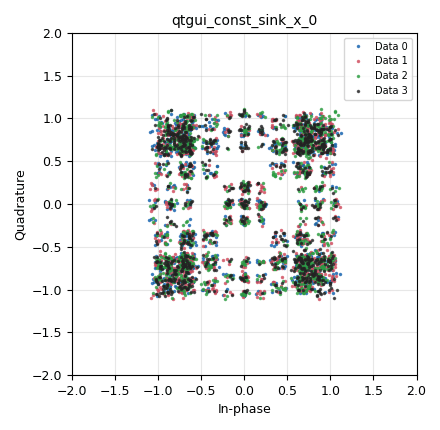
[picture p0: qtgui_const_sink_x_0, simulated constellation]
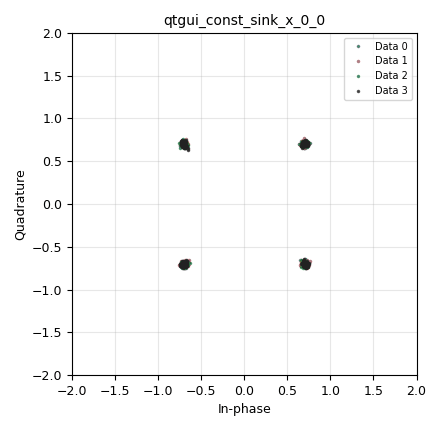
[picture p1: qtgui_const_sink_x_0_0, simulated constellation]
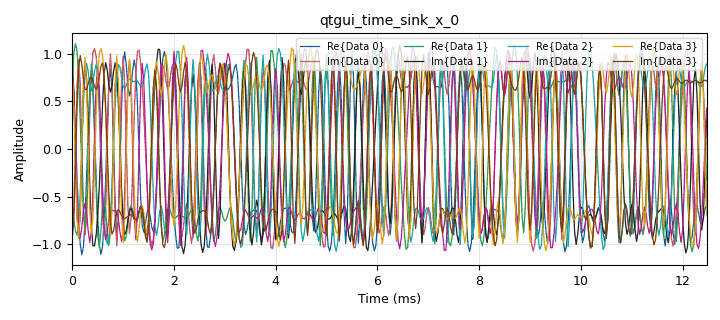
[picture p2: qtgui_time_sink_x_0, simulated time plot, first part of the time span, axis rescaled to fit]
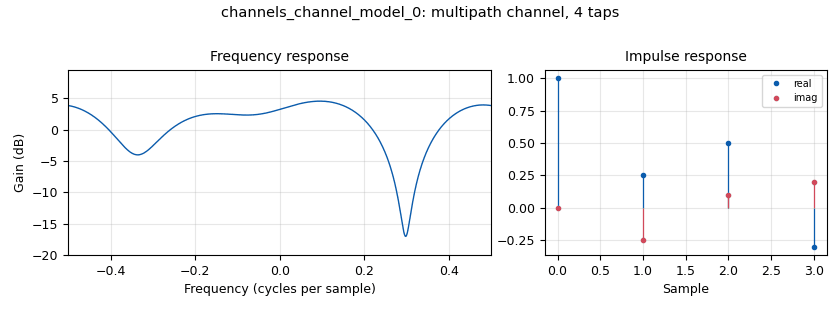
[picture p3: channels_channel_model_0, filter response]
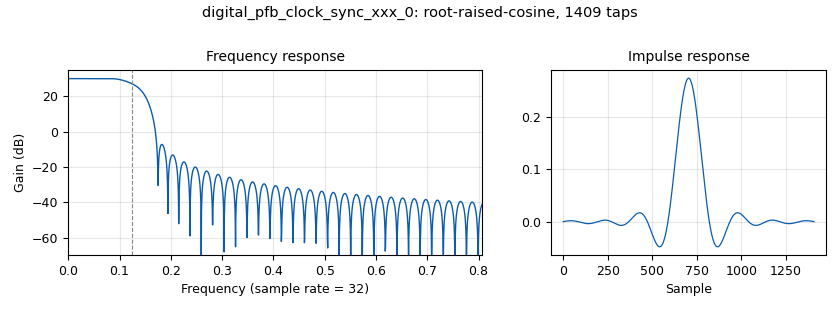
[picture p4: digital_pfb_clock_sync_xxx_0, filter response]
<?xml version='1.0' encoding='utf-8'?>
<?grc format='1' created='3.7.10'?>
<flow_graph>
<block>
<key>options</key>
<param><key>id</key><value>multi_carrier_psk</value></param>
<param><key>generate_options</key><value>qt_gui</value></param>
</block>
<block>
<key>variable_constellation</key>
<param><key>id</key><value>Const_PLD</value></param>
<param><key>const_points</key><value>digital.psk_4()[0]</value></param>
<param><key>type</key><value>calcdist</value></param>
<param><key>dims</key><value>1</value></param>
<param><key>rot_sym</key><value>4</value></param>
<param><key>precision</key><value>8</value></param>
<param><key>sym_map</key><value>digital.psk_4()[1]</value></param>
</block>
<block>
<key>variable</key>
<param><key>id</key><value>arity</value></param>
<param><key>value</key><value>Const_PLD.arity()</value></param>
</block>
<block>
<key>variable_qtgui_range</key>
<param><key>id</key><value>eq_gain</value></param>
<param><key>value</key><value>0.01</value></param>
<param><key>gui_hint</key><value>controls@1: 0,1,1,1</value></param>
<param><key>label</key><value>Equalizer: rate</value></param>
<param><key>orient</key><value>Qt.Horizontal</value></param>
<param><key>start</key><value>0.0</value></param>
<param><key>step</key><value>0.001</value></param>
<param><key>stop</key><value>0.1</value></param>
<param><key>widget</key><value>slider</value></param>
</block>
<block>
<key>variable_qtgui_range</key>
<param><key>id</key><value>freq_offset</value></param>
<param><key>value</key><value>0</value></param>
<param><key>gui_hint</key><value>controls@0: 0,1,1,1</value></param>
<param><key>label</key><value>Frequency Offset</value></param>
<param><key>orient</key><value>Qt.Horizontal</value></param>
<param><key>start</key><value>-0.1</value></param>
<param><key>step</key><value>0.001</value></param>
<param><key>stop</key><value>0.1</value></param>
</block>
<block>
<key>variable</key>
<param><key>id</key><value>nfilts</value></param>
<param><key>value</key><value>32</value></param>
</block>
<block>
<key>variable_qtgui_range</key>
<param><key>id</key><value>noise_volt</value></param>
<param><key>value</key><value>0.0001</value></param>
<param><key>gui_hint</key><value>controls@0: 0,0,1,1</value></param>
<param><key>label</key><value>Noise Voltage</value></param>
<param><key>orient</key><value>Qt.Vertical</value></param>
<param><key>start</key><value>0</value></param>
<param><key>step</key><value>0.01</value></param>
<param><key>stop</key><value>1</value></param>
</block>
<block>
<key>variable</key>
<param><key>id</key><value>pcs_taps</value></param>
<param><key>value</key><value>rrc_taps</value></param>
</block>
<block>
<key>variable_qtgui_range</key>
<param><key>id</key><value>phase_bw</value></param>
<param><key>value</key><value>6.28/100.0</value></param>
<param><key>gui_hint</key><value>controls@1: 0,2,1,1</value></param>
<param><key>label</key><value>Phase: Bandwidth</value></param>
<param><key>orient</key><value>Qt.Horizontal</value></param>
<param><key>start</key><value>0.0</value></param>
<param><key>step</key><value>0.01</value></param>
<param><key>stop</key><value>1.0</value></param>
<param><key>widget</key><value>slider</value></param>
</block>
<block>
<key>variable_rrc_filter_taps</key>
<param><key>id</key><value>rrc</value></param>
<param><key>alpha</key><value>0.35</value></param>
<param><key>gain</key><value>nfilts</value></param>
<param><key>ntaps</key><value>11*sps*nfilts</value></param>
<param><key>samp_rate</key><value>nfilts</value></param>
<param><key>sym_rate</key><value>1.0/float(sps)</value></param>
</block>
<block>
<key>variable</key>
<param><key>id</key><value>rrc_taps</value></param>
<param><key>value</key><value>firdes.root_raised_cosine(nfilts, nfilts, 1.0/float(sps), 0.35, 11*sps*nfilts)</value></param>
</block>
<block>
<key>variable</key>
<param><key>id</key><value>samp_rate</value></param>
<param><key>value</key><value>32000</value></param>
</block>
<block>
<key>variable</key>
<param><key>id</key><value>sps</value></param>
<param><key>value</key><value>4</value></param>
</block>
<block>
<key>variable</key>
<param><key>id</key><value>taps</value></param>
<param><key>value</key><value>[1.0, 0.25-0.25j, 0.50 + 0.10j, -0.3 + 0.2j]</value></param>
</block>
<block>
<key>variable_qtgui_range</key>
<param><key>id</key><value>time_offset</value></param>
<param><key>value</key><value>1.00</value></param>
<param><key>gui_hint</key><value>controls@0: 0,2,1,1</value></param>
<param><key>label</key><value>Timing Offset</value></param>
<param><key>orient</key><value>Qt.Horizontal</value></param>
<param><key>start</key><value>0.999</value></param>
<param><key>step</key><value>0.0001</value></param>
<param><key>stop</key><value>1.001</value></param>
</block>
<block>
<key>variable_qtgui_range</key>
<param><key>id</key><value>timing_loop_bw</value></param>
<param><key>value</key><value>6.28/100.0</value></param>
<param><key>gui_hint</key><value>controls@1: 0,0,1,1</value></param>
<param><key>label</key><value>Time: BW</value></param>
<param><key>orient</key><value>Qt.Horizontal</value></param>
<param><key>start</key><value>0.0</value></param>
<param><key>step</key><value>0.01</value></param>
<param><key>stop</key><value>0.2</value></param>
<param><key>widget</key><value>slider</value></param>
</block>
<block>
<key>analog_random_source_x</key>
<param><key>id</key><value>analog_random_source_x_0</value></param>
<param><key>max</key><value>256</value></param>
<param><key>min</key><value>0</value></param>
<param><key>num_samps</key><value>10000</value></param>
<param><key>type</key><value>byte</value></param>
<param><key>repeat</key><value>True</value></param>
</block>
<block>
<key>blocks_stream_to_streams</key>
<param><key>id</key><value>blocks_stream_to_streams_0</value></param>
<param><key>type</key><value>byte</value></param>
<param><key>num_streams</key><value>4</value></param>
</block>
<block>
<key>blocks_throttle</key>
<param><key>id</key><value>blocks_throttle_0</value></param>
<param><key>samples_per_second</key><value>samp_rate</value></param>
<param><key>type</key><value>complex</value></param>
</block>
<block>
<key>channels_channel_model</key>
<param><key>id</key><value>channels_channel_model_0</value></param>
<param><key>epsilon</key><value>time_offset</value></param>
<param><key>freq_offset</key><value>freq_offset</value></param>
<param><key>noise_voltage</key><value>noise_volt</value></param>
<param><key>seed</key><value>0</value></param>
<param><key>taps</key><value>taps</value></param>
</block>
<block>
<key>channels_channel_model</key>
<param><key>id</key><value>channels_channel_model_0_0</value></param>
<param><key>epsilon</key><value>time_offset</value></param>
<param><key>freq_offset</key><value>freq_offset</value></param>
<param><key>noise_voltage</key><value>noise_volt</value></param>
<param><key>seed</key><value>0</value></param>
<param><key>taps</key><value>taps</value></param>
</block>
<block>
<key>channels_channel_model</key>
<param><key>id</key><value>channels_channel_model_0_0_0</value></param>
<param><key>epsilon</key><value>time_offset</value></param>
<param><key>freq_offset</key><value>freq_offset</value></param>
<param><key>noise_voltage</key><value>noise_volt</value></param>
<param><key>seed</key><value>0</value></param>
<param><key>taps</key><value>taps</value></param>
</block>
<block>
<key>channels_channel_model</key>
<param><key>id</key><value>channels_channel_model_0_1</value></param>
<param><key>epsilon</key><value>time_offset</value></param>
<param><key>freq_offset</key><value>freq_offset</value></param>
<param><key>noise_voltage</key><value>noise_volt</value></param>
<param><key>seed</key><value>0</value></param>
<param><key>taps</key><value>taps</value></param>
</block>
<block>
<key>qtgui_tab_widget</key>
<param><key>id</key><value>controls</value></param>
<param><key>gui_hint</key><value>0,0,1,2</value></param>
<param><key>label0</key><value>Channel</value></param>
<param><key>label1</key><value>Receiver</value></param>
<param><key>num_tabs</key><value>2</value></param>
</block>
<block>
<key>digital_cma_equalizer_cc</key>
<param><key>id</key><value>digital_cma_equalizer_cc_0</value></param>
<param><key>mu</key><value>eq_gain</value></param>
<param><key>modulus</key><value>1</value></param>
<param><key>num_taps</key><value>15</value></param>
<param><key>sps</key><value>2</value></param>
</block>
<block>
<key>digital_cma_equalizer_cc</key>
<param><key>id</key><value>digital_cma_equalizer_cc_0_0</value></param>
<param><key>mu</key><value>eq_gain</value></param>
<param><key>modulus</key><value>1</value></param>
<param><key>num_taps</key><value>15</value></param>
<param><key>sps</key><value>2</value></param>
</block>
<block>
<key>digital_cma_equalizer_cc</key>
<param><key>id</key><value>digital_cma_equalizer_cc_0_1</value></param>
<param><key>mu</key><value>eq_gain</value></param>
<param><key>modulus</key><value>1</value></param>
<param><key>num_taps</key><value>15</value></param>
<param><key>sps</key><value>2</value></param>
</block>
<block>
<key>digital_cma_equalizer_cc</key>
<param><key>id</key><value>digital_cma_equalizer_cc_0_1_0</value></param>
<param><key>mu</key><value>eq_gain</value></param>
<param><key>modulus</key><value>1</value></param>
<param><key>num_taps</key><value>15</value></param>
<param><key>sps</key><value>2</value></param>
</block>
<block>
<key>digital_constellation_modulator</key>
<param><key>id</key><value>digital_constellation_modulator_0</value></param>
<param><key>constellation</key><value>Const_PLD</value></param>
<param><key>differential</key><value>True</value></param>
<param><key>excess_bw</key><value>0.35</value></param>
<param><key>samples_per_symbol</key><value>sps</value></param>
</block>
<block>
<key>digital_constellation_modulator</key>
<param><key>id</key><value>digital_constellation_modulator_0_0</value></param>
<param><key>constellation</key><value>Const_PLD</value></param>
<param><key>differential</key><value>True</value></param>
<param><key>excess_bw</key><value>0.35</value></param>
<param><key>samples_per_symbol</key><value>sps</value></param>
</block>
<block>
<key>digital_constellation_modulator</key>
<param><key>id</key><value>digital_constellation_modulator_0_0_0</value></param>
<param><key>constellation</key><value>Const_PLD</value></param>
<param><key>differential</key><value>True</value></param>
<param><key>excess_bw</key><value>0.35</value></param>
<param><key>samples_per_symbol</key><value>sps</value></param>
</block>
<block>
<key>digital_constellation_modulator</key>
<param><key>id</key><value>digital_constellation_modulator_0_0_1</value></param>
<param><key>constellation</key><value>Const_PLD</value></param>
<param><key>differential</key><value>True</value></param>
<param><key>excess_bw</key><value>0.35</value></param>
<param><key>samples_per_symbol</key><value>sps</value></param>
</block>
<block>
<key>digital_costas_loop_cc</key>
<param><key>id</key><value>digital_costas_loop_cc_0</value></param>
<param><key>w</key><value>phase_bw</value></param>
<param><key>order</key><value>arity</value></param>
</block>
<block>
<key>digital_costas_loop_cc</key>
<param><key>id</key><value>digital_costas_loop_cc_0_0</value></param>
<param><key>w</key><value>phase_bw</value></param>
<param><key>order</key><value>arity</value></param>
</block>
<block>
<key>digital_costas_loop_cc</key>
<param><key>id</key><value>digital_costas_loop_cc_0_1</value></param>
<param><key>w</key><value>phase_bw</value></param>
<param><key>order</key><value>arity</value></param>
</block>
<block>
<key>digital_costas_loop_cc</key>
<param><key>id</key><value>digital_costas_loop_cc_0_1_0</value></param>
<param><key>w</key><value>phase_bw</value></param>
<param><key>order</key><value>arity</value></param>
</block>
<block>
<key>digital_pfb_clock_sync_xxx</key>
<param><key>id</key><value>digital_pfb_clock_sync_xxx_0</value></param>
<param><key>filter_size</key><value>nfilts</value></param>
<param><key>init_phase</key><value>nfilts/2.0</value></param>
<param><key>loop_bw</key><value>timing_loop_bw</value></param>
<param><key>max_dev</key><value>1.5</value></param>
<param><key>osps</key><value>2</value></param>
<param><key>sps</key><value>sps</value></param>
<param><key>taps</key><value>pcs_taps</value></param>
<param><key>type</key><value>ccf</value></param>
</block>
<block>
<key>digital_pfb_clock_sync_xxx</key>
<param><key>id</key><value>digital_pfb_clock_sync_xxx_0_0</value></param>
<param><key>filter_size</key><value>nfilts</value></param>
<param><key>init_phase</key><value>nfilts/2.0</value></param>
<param><key>loop_bw</key><value>timing_loop_bw</value></param>
<param><key>max_dev</key><value>1.5</value></param>
<param><key>osps</key><value>2</value></param>
<param><key>sps</key><value>sps</value></param>
<param><key>taps</key><value>pcs_taps</value></param>
<param><key>type</key><value>ccf</value></param>
</block>
<block>
<key>digital_pfb_clock_sync_xxx</key>
<param><key>id</key><value>digital_pfb_clock_sync_xxx_0_1</value></param>
<param><key>filter_size</key><value>nfilts</value></param>
<param><key>init_phase</key><value>nfilts/2.0</value></param>
<param><key>loop_bw</key><value>timing_loop_bw</value></param>
<param><key>max_dev</key><value>1.5</value></param>
<param><key>osps</key><value>2</value></param>
<param><key>sps</key><value>sps</value></param>
<param><key>taps</key><value>pcs_taps</value></param>
<param><key>type</key><value>ccf</value></param>
</block>
<block>
<key>digital_pfb_clock_sync_xxx</key>
<param><key>id</key><value>digital_pfb_clock_sync_xxx_0_1_0</value></param>
<param><key>filter_size</key><value>nfilts</value></param>
<param><key>init_phase</key><value>nfilts/2.0</value></param>
<param><key>loop_bw</key><value>timing_loop_bw</value></param>
<param><key>max_dev</key><value>1.5</value></param>
<param><key>osps</key><value>2</value></param>
<param><key>sps</key><value>sps</value></param>
<param><key>taps</key><value>pcs_taps</value></param>
<param><key>type</key><value>ccf</value></param>
</block>
<block>
<key>qtgui_const_sink_x</key>
<param><key>id</key><value>qtgui_const_sink_x_0</value></param>
<param><key>color4</key><value>"magenta"</value></param>
<param><key>nconnections</key><value>4</value></param>
<param><key>size</key><value>1024</value></param>
<param><key>type</key><value>complex</value></param>
</block>
<block>
<key>qtgui_const_sink_x</key>
<param><key>id</key><value>qtgui_const_sink_x_0_0</value></param>
<param><key>color4</key><value>"magenta"</value></param>
<param><key>nconnections</key><value>4</value></param>
<param><key>size</key><value>1024</value></param>
<param><key>type</key><value>complex</value></param>
</block>
<block>
<key>qtgui_time_sink_x</key>
<param><key>id</key><value>qtgui_time_sink_x_0</value></param>
<param><key>color1</key><value>"blue"</value></param>
<param><key>label1</key><value></value></param>
<param><key>color2</key><value>"red"</value></param>
<param><key>label2</key><value></value></param>
<param><key>color3</key><value>"green"</value></param>
<param><key>label3</key><value></value></param>
<param><key>color4</key><value>"black"</value></param>
<param><key>label4</key><value></value></param>
<param><key>color5</key><value>"cyan"</value></param>
<param><key>label5</key><value></value></param>
<param><key>color6</key><value>"magenta"</value></param>
<param><key>label6</key><value></value></param>
<param><key>color7</key><value>"yellow"</value></param>
<param><key>label7</key><value></value></param>
<param><key>color8</key><value>"dark red"</value></param>
<param><key>label8</key><value></value></param>
<param><key>nconnections</key><value>4</value></param>
<param><key>size</key><value>1024</value></param>
<param><key>srate</key><value>samp_rate</value></param>
<param><key>type</key><value>complex</value></param>
</block>
<connection><source_block_id>analog_random_source_x_0</source_block_id><sink_block_id>blocks_stream_to_streams_0</sink_block_id><source_key>0</source_key><sink_key>0</sink_key></connection>
<connection><source_block_id>blocks_stream_to_streams_0</source_block_id><sink_block_id>digital_constellation_modulator_0</sink_block_id><source_key>0</source_key><sink_key>0</sink_key></connection>
<connection><source_block_id>blocks_stream_to_streams_0</source_block_id><sink_block_id>digital_constellation_modulator_0_0</sink_block_id><source_key>1</source_key><sink_key>0</sink_key></connection>
<connection><source_block_id>blocks_stream_to_streams_0</source_block_id><sink_block_id>digital_constellation_modulator_0_0_0</sink_block_id><source_key>2</source_key><sink_key>0</sink_key></connection>
<connection><source_block_id>blocks_stream_to_streams_0</source_block_id><sink_block_id>digital_constellation_modulator_0_0_1</sink_block_id><source_key>3</source_key><sink_key>0</sink_key></connection>
<connection><source_block_id>blocks_throttle_0</source_block_id><sink_block_id>channels_channel_model_0</sink_block_id><source_key>0</source_key><sink_key>0</sink_key></connection>
<connection><source_block_id>blocks_throttle_0</source_block_id><sink_block_id>qtgui_const_sink_x_0</sink_block_id><source_key>0</source_key><sink_key>0</sink_key></connection>
<connection><source_block_id>blocks_throttle_0</source_block_id><sink_block_id>qtgui_time_sink_x_0</sink_block_id><source_key>0</source_key><sink_key>0</sink_key></connection>
<connection><source_block_id>channels_channel_model_0</source_block_id><sink_block_id>digital_pfb_clock_sync_xxx_0</sink_block_id><source_key>0</source_key><sink_key>0</sink_key></connection>
<connection><source_block_id>channels_channel_model_0_0</source_block_id><sink_block_id>digital_pfb_clock_sync_xxx_0_0</sink_block_id><source_key>0</source_key><sink_key>0</sink_key></connection>
<connection><source_block_id>channels_channel_model_0_0_0</source_block_id><sink_block_id>digital_pfb_clock_sync_xxx_0_1_0</sink_block_id><source_key>0</source_key><sink_key>0</sink_key></connection>
<connection><source_block_id>channels_channel_model_0_1</source_block_id><sink_block_id>digital_pfb_clock_sync_xxx_0_1</sink_block_id><source_key>0</source_key><sink_key>0</sink_key></connection>
<connection><source_block_id>digital_cma_equalizer_cc_0</source_block_id><sink_block_id>digital_costas_loop_cc_0</sink_block_id><source_key>0</source_key><sink_key>0</sink_key></connection>
<connection><source_block_id>digital_cma_equalizer_cc_0_0</source_block_id><sink_block_id>digital_costas_loop_cc_0_0</sink_block_id><source_key>0</source_key><sink_key>0</sink_key></connection>
<connection><source_block_id>digital_cma_equalizer_cc_0_1</source_block_id><sink_block_id>digital_costas_loop_cc_0_1</sink_block_id><source_key>0</source_key><sink_key>0</sink_key></connection>
<connection><source_block_id>digital_cma_equalizer_cc_0_1_0</source_block_id><sink_block_id>digital_costas_loop_cc_0_1_0</sink_block_id><source_key>0</source_key><sink_key>0</sink_key></connection>
<connection><source_block_id>digital_constellation_modulator_0</source_block_id><sink_block_id>blocks_throttle_0</sink_block_id><source_key>0</source_key><sink_key>0</sink_key></connection>
<connection><source_block_id>digital_constellation_modulator_0_0</source_block_id><sink_block_id>channels_channel_model_0_0</sink_block_id><source_key>0</source_key><sink_key>0</sink_key></connection>
<connection><source_block_id>digital_constellation_modulator_0_0</source_block_id><sink_block_id>qtgui_const_sink_x_0</sink_block_id><source_key>0</source_key><sink_key>1</sink_key></connection>
<connection><source_block_id>digital_constellation_modulator_0_0</source_block_id><sink_block_id>qtgui_time_sink_x_0</sink_block_id><source_key>0</source_key><sink_key>1</sink_key></connection>
<connection><source_block_id>digital_constellation_modulator_0_0_0</source_block_id><sink_block_id>channels_channel_model_0_1</sink_block_id><source_key>0</source_key><sink_key>0</sink_key></connection>
<connection><source_block_id>digital_constellation_modulator_0_0_0</source_block_id><sink_block_id>qtgui_const_sink_x_0</sink_block_id><source_key>0</source_key><sink_key>2</sink_key></connection>
<connection><source_block_id>digital_constellation_modulator_0_0_0</source_block_id><sink_block_id>qtgui_time_sink_x_0</sink_block_id><source_key>0</source_key><sink_key>2</sink_key></connection>
<connection><source_block_id>digital_constellation_modulator_0_0_1</source_block_id><sink_block_id>channels_channel_model_0_0_0</sink_block_id><source_key>0</source_key><sink_key>0</sink_key></connection>
<connection><source_block_id>digital_constellation_modulator_0_0_1</source_block_id><sink_block_id>qtgui_const_sink_x_0</sink_block_id><source_key>0</source_key><sink_key>3</sink_key></connection>
<connection><source_block_id>digital_constellation_modulator_0_0_1</source_block_id><sink_block_id>qtgui_time_sink_x_0</sink_block_id><source_key>0</source_key><sink_key>3</sink_key></connection>
<connection><source_block_id>digital_costas_loop_cc_0</source_block_id><sink_block_id>qtgui_const_sink_x_0_0</sink_block_id><source_key>0</source_key><sink_key>0</sink_key></connection>
<connection><source_block_id>digital_costas_loop_cc_0_0</source_block_id><sink_block_id>qtgui_const_sink_x_0_0</sink_block_id><source_key>0</source_key><sink_key>1</sink_key></connection>
<connection><source_block_id>digital_costas_loop_cc_0_1</source_block_id><sink_block_id>qtgui_const_sink_x_0_0</sink_block_id><source_key>0</source_key><sink_key>2</sink_key></connection>
<connection><source_block_id>digital_costas_loop_cc_0_1_0</source_block_id><sink_block_id>qtgui_const_sink_x_0_0</sink_block_id><source_key>0</source_key><sink_key>3</sink_key></connection>
<connection><source_block_id>digital_pfb_clock_sync_xxx_0</source_block_id><sink_block_id>digital_cma_equalizer_cc_0</sink_block_id><source_key>0</source_key><sink_key>0</sink_key></connection>
<connection><source_block_id>digital_pfb_clock_sync_xxx_0_0</source_block_id><sink_block_id>digital_cma_equalizer_cc_0_0</sink_block_id><source_key>0</source_key><sink_key>0</sink_key></connection>
<connection><source_block_id>digital_pfb_clock_sync_xxx_0_1</source_block_id><sink_block_id>digital_cma_equalizer_cc_0_1</sink_block_id><source_key>0</source_key><sink_key>0</sink_key></connection>
<connection><source_block_id>digital_pfb_clock_sync_xxx_0_1_0</source_block_id><sink_block_id>digital_cma_equalizer_cc_0_1_0</sink_block_id><source_key>0</source_key><sink_key>0</sink_key></connection>
</flow_graph>
